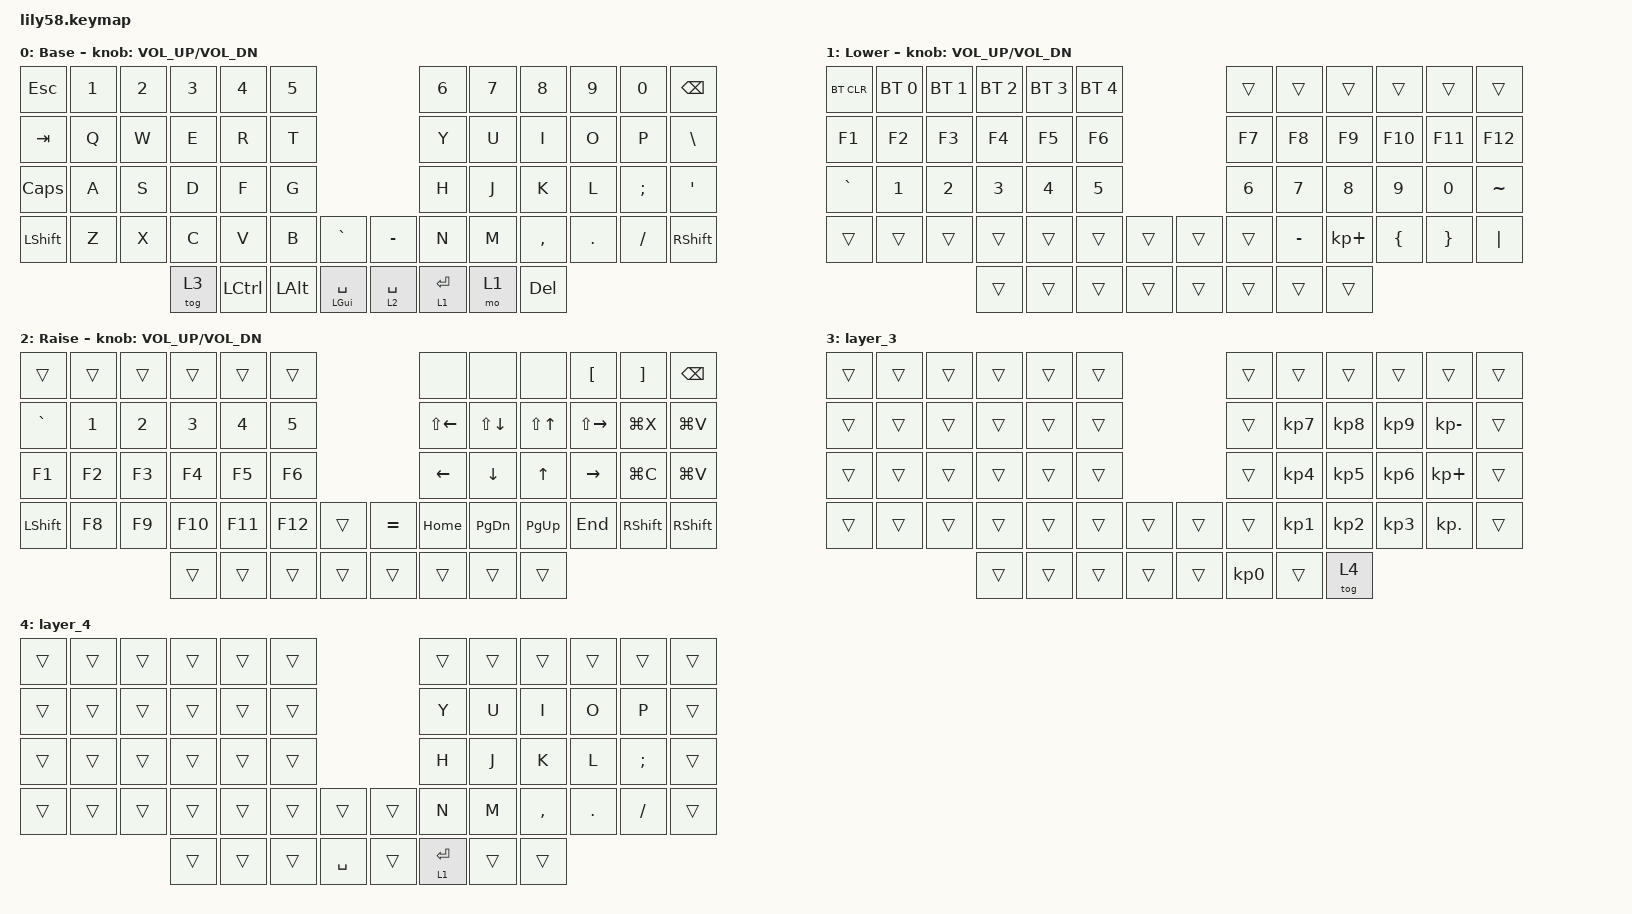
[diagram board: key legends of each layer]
/*
 * Copyright (c) 2020 The ZMK Contributors
 *
 * SPDX-License-Identifier: MIT
 */

#include <behaviors.dtsi>
#include <dt-bindings/zmk/bt.h>
#include <dt-bindings/zmk/keys.h>

/ {
    keymap {
        compatible = "zmk,keymap";

        default_layer {
            // ------------------------------------------------------------------------------------------------------------
            // |  ESC  |  1  |  2  |  3   |  4   |  5   |                   |  6   |  7    |  8    |  9   |   0   |   `   |
            // |  TAB  |  Q  |  W  |  E   |  R   |  T   |                   |  Y   |  U    |  I    |  O   |   P   |   -   |
            // |  CTRL |  A  |  S  |  D   |  F   |  G   |                   |  H   |  J    |  K    |  L   |   ;   |   '   |
            // | SHIFT |  Z  |  X  |  C   |  V   |  B   |   "["  |  |  "]"  |  N   |  M    |  ,    |  .   |   /   | SHIFT |
            //                     | ALT  | GUI  | LOWER|  SPACE |  | ENTER | RAISE| BSPC  | GUI   |

            display-name = "Base";
            bindings = <
&kp ESC       &kp N1  &kp N2  &kp N3  &kp N4            &kp N5                                       &kp N6     &kp N7  &kp N8      &kp N9   &kp N0    &kp BACKSPACE
&kp TAB       &kp Q   &kp W   &kp E   &kp R             &kp T                                        &kp Y      &kp U   &kp I       &kp O    &kp P     &kp BACKSLASH
&kp CAPSLOCK  &kp A   &kp S   &kp D   &kp F             &kp G                                        &kp H      &kp J   &kp K       &kp L    &kp SEMI  &kp SQT
&kp LSHFT     &kp Z   &kp X   &kp C   &kp V             &kp B         &kp GRAVE         &kp MINUS    &kp N      &kp M   &kp COMMA   &kp DOT  &kp FSLH  &kp RSHFT
                              &tog 3  &kp LEFT_CONTROL  &kp LEFT_ALT  &mt LGUI SPACE    &lt 2 SPACE  &lt 1 RET  &mo 1   &kp DELETE
            >;

            sensor-bindings = <&inc_dec_kp C_VOL_UP C_VOL_DN>;
        };

        lower_layer {
            // ------------------------------------------------------------------------------------------------------------
            // | BTCLR | BT1 | BT2 |  BT3 |  BT4 |  BT5 |                   |      |       |       |      |       |       |
            // |  F1   |  F2 |  F3 |  F4  |  F5  |  F6  |                   |  F7  |  F8   |  F9   |  F10 |  F11  |  F12  |
            // |   `   |  !  |  @  |  #   |  $   |  %   |                   |  ^   |  &    |  *    |  (   |   )   |   ~   |
            // |       |     |     |      |      |      |        |  |       |      |  _    |  +    |  {   |   }   |  "|"  |
            //                     |      |      |      |        |  |       |      |       |       |

            display-name = "Lower";
            bindings = <
&bt BT_CLR  &bt BT_SEL 0  &bt BT_SEL 1  &bt BT_SEL 2  &bt BT_SEL 3  &bt BT_SEL 4                    &trans        &trans     &trans       &trans    &trans    &trans
&kp F1      &kp F2        &kp F3        &kp F4        &kp F5        &kp F6                          &kp F7        &kp F8     &kp F9       &kp F10   &kp F11   &kp F12
&kp GRAVE   &kp NUMBER_1  &kp NUMBER_2  &kp NUMBER_3  &kp NUMBER_4  &kp N5                          &kp NUMBER_6  &kp N7     &kp N8       &kp N9    &kp N0    &kp TILDE
&trans      &trans        &trans        &trans        &trans        &trans        &trans    &trans  &trans        &kp MINUS  &kp KP_PLUS  &kp LBRC  &kp RBRC  &kp PIPE
                                        &trans        &trans        &trans        &trans    &trans  &trans        &trans     &trans
            >;

            sensor-bindings = <&inc_dec_kp C_VOL_UP C_VOL_DN>;
        };

        raise_layer {
            // ------------------------------------------------------------------------------------------------------------
            // |       |     |     |      |      |      |                   |      |       |       |      |       |       |
            // |   `   |  1  |  2  |  3   |  4   |  5   |                   |  6   |   7   |   8   |  9   |   0   |       |
            // |   F1  |  F2 |  F3 |  F4  |  F5  |  F6  |                   |      |   <-  |   v   |  ^   |  ->   |       |
            // |   F7  |  F8 |  F9 |  F10 |  F11 |  F12 |        |  |       |  +   |   -   |   =   |  [   |   ]   |   \   |
            //                     |      |      |      |        |  |       |      |       |       |

            display-name = "Raise";
            bindings = <
&trans          &trans  &trans  &trans   &trans   &trans                        &none               &none               &none             &kp LEFT_BRACKET     &kp RIGHT_BRACKET  &kp BACKSPACE
&kp GRAVE       &kp N1  &kp N2  &kp N3   &kp N4   &kp N5                        &kp LS(LEFT_ARROW)  &kp LS(DOWN_ARROW)  &kp LS(UP_ARROW)  &kp LS(RIGHT_ARROW)  &kp LG(X)          &kp LG(V)
&kp F1          &kp F2  &kp F3  &kp F4   &kp F5   &kp F6                        &kp LEFT_ARROW      &kp DOWN_ARROW      &kp UP_ARROW      &kp RIGHT_ARROW      &kp LG(C)          &kp LG(V)
&kp LEFT_SHIFT  &kp F8  &kp F9  &kp F10  &kp F11  &kp F12  &trans    &kp EQUAL  &kp HOME            &kp PAGE_DOWN       &kp PAGE_UP       &kp END              &kp RIGHT_SHIFT    &kp RIGHT_SHIFT
                                &trans   &trans   &trans   &trans    &trans     &trans              &trans              &trans
            >;

            sensor-bindings = <&inc_dec_kp C_VOL_UP C_VOL_DN>;
        };

        layer_3 {
            bindings = <
&trans  &trans  &trans  &trans  &trans  &trans                    &trans           &trans           &trans           &trans           &trans        &trans
&trans  &trans  &trans  &trans  &trans  &trans                    &trans           &kp KP_NUMBER_7  &kp KP_NUMBER_8  &kp KP_NUMBER_9  &kp KP_MINUS  &trans
&trans  &trans  &trans  &trans  &trans  &trans                    &trans           &kp KP_NUMBER_4  &kp KP_NUMBER_5  &kp KP_NUMBER_6  &kp KP_PLUS   &trans
&trans  &trans  &trans  &trans  &trans  &trans  &trans    &trans  &trans           &kp KP_NUMBER_1  &kp KP_NUMBER_2  &kp KP_NUMBER_3  &kp KP_DOT    &trans
                        &trans  &trans  &trans  &trans    &trans  &kp KP_NUMBER_0  &trans           &tog 4
            >;
        };

        layer_4 {
            bindings = <
&trans  &trans  &trans  &trans  &trans  &trans                       &trans     &trans  &trans     &trans      &trans         &trans
&trans  &trans  &trans  &trans  &trans  &trans                       &kp Y      &kp U   &kp I      &kp O       &kp P          &trans
&trans  &trans  &trans  &trans  &trans  &trans                       &kp H      &kp J   &kp K      &kp L       &kp SEMICOLON  &trans
&trans  &trans  &trans  &trans  &trans  &trans  &trans       &trans  &kp N      &kp M   &kp COMMA  &kp PERIOD  &kp SLASH      &trans
                        &trans  &trans  &trans  &kp SPACE    &trans  &lt 1 RET  &trans  &trans
            >;
        };
    };
};
